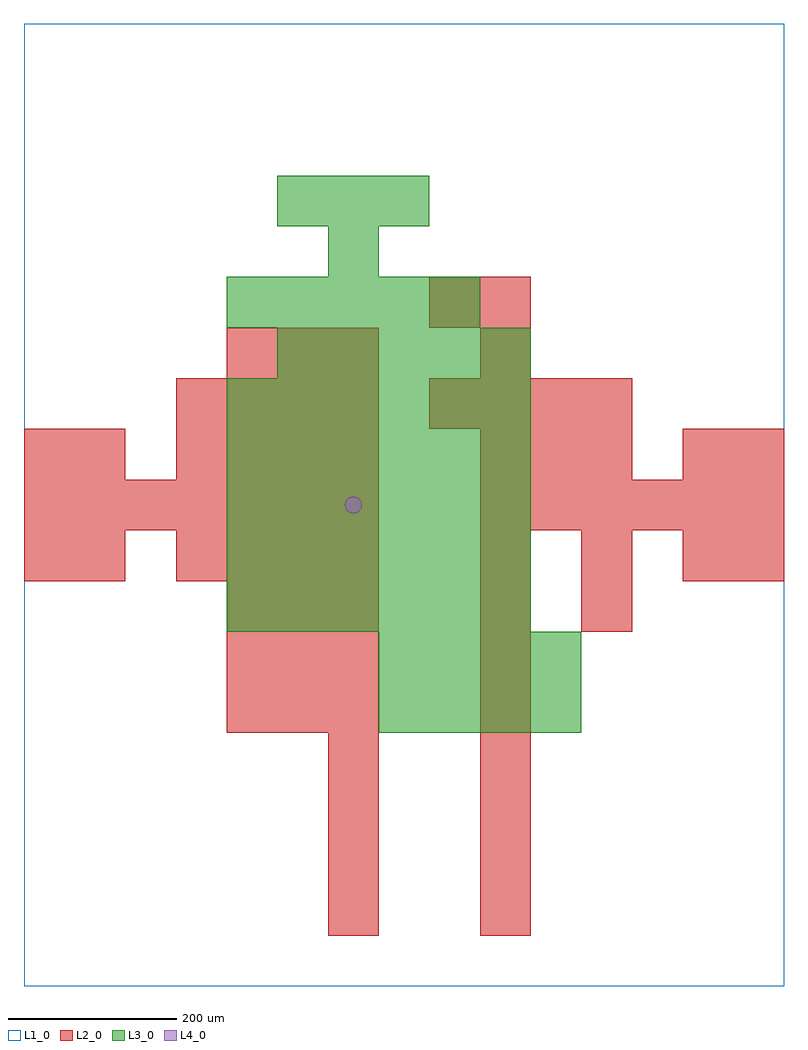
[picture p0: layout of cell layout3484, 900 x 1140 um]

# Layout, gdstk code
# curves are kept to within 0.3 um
import gdstk
lib = gdstk.Library(unit=1e-6, precision=1e-09)
def R(c, l, rs):  # rectangles x0, y0, x1, y1
    for r in rs: c.add(gdstk.rectangle(r[:2], r[2:], *l))
def A(c, l, x, y, w, h, nx, ny, dx, dy):  # array of equal rectangles
    R(c, l, [(x+i*dx, y+j*dy, x+i*dx+w, y+j*dy+h) for i in range(nx) for j in range(ny)])
def P(c, l, *ps):  # polygons
    for p in ps: c.add(gdstk.Polygon(p, *l))
L1_0 = (1, 0)
L2_0 = (2, 0)
L3_0 = (3, 0)
L4_0 = (4, 0)

layout3484 = lib.new_cell('layout3484')
R(layout3484, L1_0, [(0,0,900,1140)])
A(layout3484, L2_0, 360, 60, 60, 60, 1, 4, 0, 60)
A(layout3484, L2_0, 540, 60, 60, 60, 1, 7, 0, 60)
A(layout3484, L2_0, 240, 300, 60, 60, 3, 3, 60, 60)
A(layout3484, L2_0, 180, 480, 60, 60, 4, 2, 60, 120)
A(layout3484, L2_0, 540, 480, 60, 60, 3, 1, 120, 0)
A(layout3484, L2_0, 0, 540, 60, 60, 7, 1, 60, 0)
A(layout3484, L2_0, 540, 540, 60, 60, 6, 1, 60, 0)
A(layout3484, L2_0, 540, 600, 60, 60, 3, 1, 60, 0)
A(layout3484, L2_0, 180, 660, 60, 60, 4, 1, 60, 0)
A(layout3484, L2_0, 480, 660, 60, 60, 4, 1, 60, 0)
A(layout3484, L2_0, 240, 720, 60, 60, 3, 1, 60, 0)
R(layout3484, L2_0, [(660,420,720,480), (0,480,60,540), (60,480,120,540), (840,480,900,540), (0,600,60,660), (60,600,120,660), (780,600,840,660), (840,600,900,660), (540,720,600,780), (480,780,540,840), (540,780,600,840)])
A(layout3484, L3_0, 420, 300, 60, 60, 4, 2, 60, 60)
A(layout3484, L3_0, 240, 420, 60, 60, 6, 5, 60, 60)
A(layout3484, L3_0, 300, 720, 60, 60, 5, 1, 60, 0)
A(layout3484, L3_0, 240, 780, 60, 60, 5, 1, 60, 0)
A(layout3484, L3_0, 300, 900, 60, 60, 3, 1, 60, 0)
R(layout3484, L3_0, [(360,840,420,900)])
P(layout3484, L4_0, [(400,570),(399.239,573.827),(397.071,577.071),(393.827,579.239),(390,580),(386.173,579.239),(382.929,577.071),(380.761,573.827),(380,570),(380.761,566.173),(382.929,562.929),(386.173,560.761),(390,560),(393.827,560.761),(397.071,562.929),(399.239,566.173)])

lib.write_gds('layout3484.gds')
